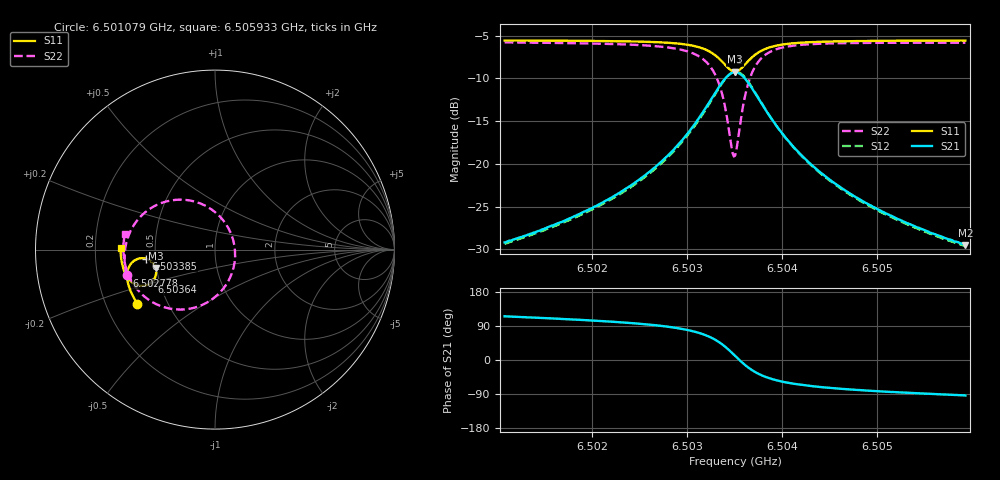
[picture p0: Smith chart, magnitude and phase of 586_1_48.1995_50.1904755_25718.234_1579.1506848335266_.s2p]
#  HZ  S  RI  R  50.00
! Rohde & Schwarz Vector Network Analyzer
! Rohde-Schwarz,ZNB20-2Port,1311601062101988,3.16
! Created: UTC 3/20/2024, 12:02:17 PM
! freq[Hz]  re:S11  im:S11  re:S21  im:S21  re:S12  im:S12  re:S22  im:S22
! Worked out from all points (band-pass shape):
!   401 points, 6.501079 GHz to 6.505933 GHz, reference 50 ohm
!   highest |S21| = -9.29 dB at 6.503506 GHz (marker M1); lowest = -29.5 dB at 6.505933 GHz (marker M2)
!   |S21| within 3 dB of the highest: 6.503264 GHz to 6.50375 GHz (485.2 kHz wide, 0.00746 % of centre)
!   lowest |S11| = -9.2 dB at 6.503506 GHz (marker M3), VSWR 2.06, Z = 24.7 - j5.73 ohm
!   |S11| at or under -10 dB: nowhere
!   |S22| runs from -19.1 to -5.8 dB; largest |S21 - S12| = 0.012
!   S11 on the Smith chart (normalised r, x): 6.501079 GHz: 0.34, -0.28; 6.502778 GHz: 0.33, -0.13; 6.503385 GHz: 0.44, -0.05; 6.50364 GHz: 0.45, -0.19; 6.505933 GHz: 0.31, +0.01
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6.5010795e9  -0.4322 -0.3017  -0.0148 0.0313  -0.013 0.0315  -0.4926 -0.144
6.5018925e9  -0.4663 -0.2404  -0.014 0.0498  -0.0115 0.0492  -0.5039 -0.0557
6.5023415e9  -0.4816 -0.1996  -0.0106 0.0698  -0.00778 0.0686  -0.4997 0.00993
6.5027056e9  -0.4895 -0.1584  -0.00113 0.1001  0.00223 0.0977  -0.4784 0.0858
6.5027784e9  -0.4901 -0.1484  0.00276 0.109  0.0064 0.1063  -0.4698 0.1052
6.5029847e9  -0.4862 -0.1148  0.0245 0.1431  0.028 0.1389  -0.4246 0.173
6.5031424e9  -0.4711 -0.0825  0.0644 0.1796  0.067 0.1738  -0.3473 0.2369
6.503288e9  -0.4328 -0.0527  0.1471 0.2085  0.1475 0.2025  -0.1966 0.2782
6.5033366e9  -0.4113 -0.0479  0.1899 0.2072  0.19 0.2018  -0.1212 0.2696
6.5033851e9  -0.3856 -0.05  0.2395 0.1918  0.2396 0.1875  -0.0369 0.2349
6.5034701e9  -0.3421 -0.0796  0.3189 0.1164  0.3214 0.1125  0.0903 0.0864
6.5035065e9  -0.331 -0.1021  0.3367 0.0668  0.3407 0.0618  0.1114 -0.00649
6.5035307e9  -0.328 -0.1186  0.3402 0.0317  0.3446 0.0252  0.1092 -0.0709
6.5035672e9  -0.3301 -0.1431  0.3327 -0.0191  0.3367 -0.028  0.0815 -0.1613
6.50364e9  -0.3526 -0.181  0.2855 -0.0966  0.2858 -0.1081  -0.0302 -0.2865
6.5037492e9  -0.399 -0.2014  0.197 -0.1425  0.1921 -0.1525  -0.2092 -0.3335
6.5039069e9  -0.4468 -0.192  0.112 -0.1384  0.105 -0.1439  -0.3622 -0.2843
6.5040768e9  -0.475 -0.1707  0.0658 -0.1172  0.0595 -0.1195  -0.4366 -0.217
6.5043195e9  -0.4961 -0.1407  0.0348 -0.0915  0.0301 -0.0921  -0.4811 -0.1427
6.5046957e9  -0.5121 -0.1007  0.0151 -0.0666  0.0116 -0.0663  -0.5045 -0.065
6.5051326e9  -0.5214 -0.0596  0.00532 -0.05  0.00296 -0.0492  -0.5107 -0.00135
6.5059335e9  -0.5264 0.0087  -0.0021 -0.0334  -0.00328 -0.0328  -0.5036 0.0855
